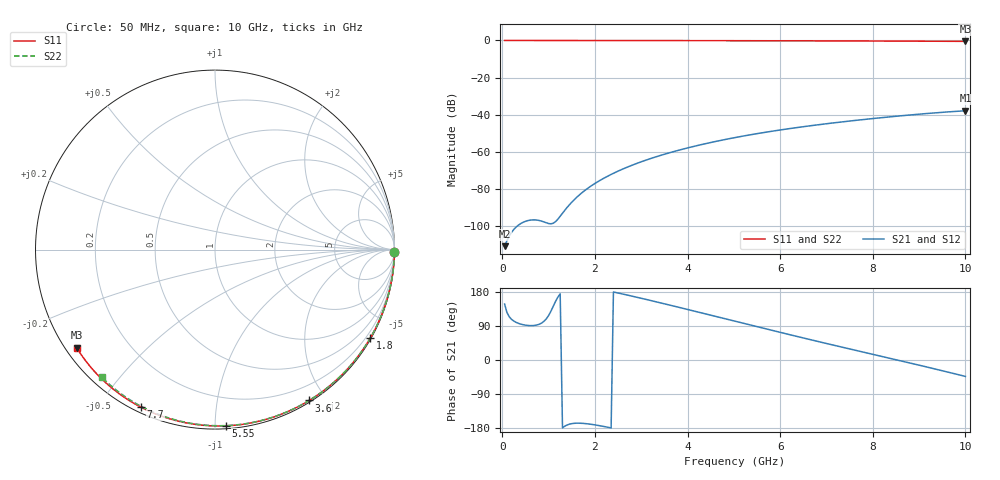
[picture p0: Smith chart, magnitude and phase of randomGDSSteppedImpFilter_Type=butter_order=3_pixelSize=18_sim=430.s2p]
! freq	dB(S11)	phase(S11)	dB(S12)	phase(S12)
!  dB(S21)	phase(S21)	dB(S22)	phase(S22)
!S-par simulation data
#  GHz  S  DB  R 50
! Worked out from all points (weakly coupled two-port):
!   200 points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, 50 MHz to 10 GHz, reference 50 ohm
!   highest |S21| = -37.93 dB at 10 GHz (marker M1); lowest = -111.0 dB at 50 MHz (marker M2)
!   lowest |S11| = -0.5 dB at 10 GHz (marker M3), VSWR 35.42, Z = 1.55 - j15.9 ohm
!   |S11| at or under -10 dB: nowhere
!   |S22| runs from -0.4 to 0.0 dB; largest |S21 - S12| = 0
!   S11 on the Smith chart (normalised r, x): 50 MHz: open; 1.8 GHz: 0.03, -3.76; 3.6 GHz: 0.02, -1.80; 5.55 GHz: 0.02, -1.06; 7.7 GHz: 0.02, -0.63; 10 GHz: 0.03, -0.32
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0.05  -0.00 -0.8  -110.99 147.5  -110.99 147.5  -0.00 -0.8
0.45  -0.01 -7.6  -98.10 93.1  -98.10 93.1  -0.00 -6.9
0.9  -0.02 -15.0  -97.92 102.1  -97.92 102.1  -0.02 -13.6
1.3  -0.03 -21.6  -93.21 -179.0  -93.21 -179.0  -0.02 -19.6
1.75  -0.04 -28.9  -81.55 -167.3  -81.55 -167.3  -0.03 -26.3
1.8  -0.04 -29.8  -80.59 -167.9  -80.59 -167.9  -0.03 -27.0
1.85  -0.04 -30.6  -79.67 -168.5  -79.67 -168.5  -0.04 -27.8
2.05  -0.04 -33.8  -76.37 -172.2  -76.37 -172.2  -0.04 -30.7
2.25  -0.05 -37.0  -73.56 -176.8  -73.56 -176.8  -0.04 -33.6
2.55  -0.05 -41.8  -69.93 175.5  -69.93 175.5  -0.05 -38.0
2.95  -0.06 -48.0  -65.91 164.3  -65.91 164.3  -0.06 -43.7
3.4  -0.07 -55.0  -62.14 151.3  -62.14 151.3  -0.07 -50.0
3.6  -0.08 -58.0  -60.66 145.4  -60.66 145.4  -0.07 -52.8
4.3  -0.10 -68.5  -56.18 124.4  -56.18 124.4  -0.09 -62.4
5.05  -0.12 -79.4  -52.28 101.6  -52.28 101.6  -0.11 -72.4
5.55  -0.14 -86.4  -50.07 86.5  -50.07 86.5  -0.13 -78.9
6.1  -0.17 -94.0  -47.92 70.0  -47.92 70.0  -0.15 -85.8
6.7  -0.20 -102.1  -45.87 52.3  -45.87 52.3  -0.18 -93.3
7.7  -0.27 -115.3  -42.92 23.5  -42.92 23.5  -0.24 -105.3
8.35  -0.32 -123.6  -41.26 5.0  -41.26 5.0  -0.29 -112.9
9.2  -0.40 -134.5  -39.35 -19.4  -39.35 -19.4  -0.36 -122.6
10  -0.49 -144.7  -37.93 -43.3  -37.93 -43.3  -0.45 -131.6
